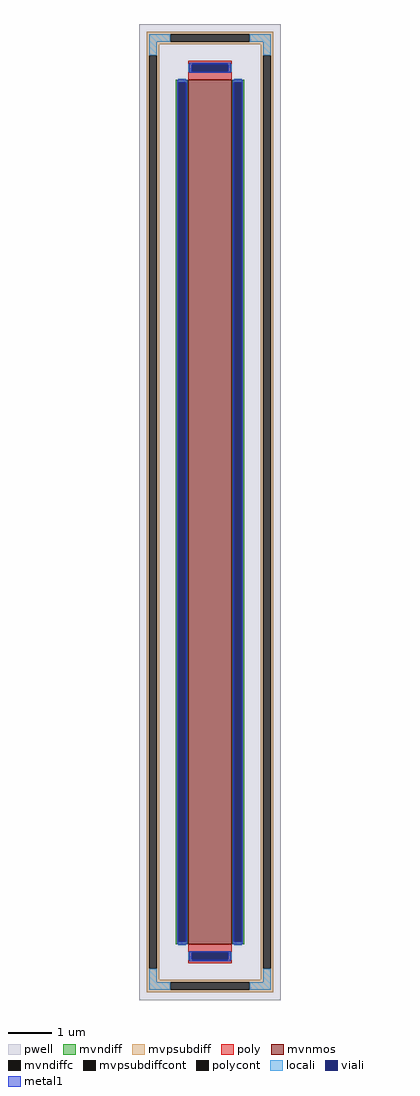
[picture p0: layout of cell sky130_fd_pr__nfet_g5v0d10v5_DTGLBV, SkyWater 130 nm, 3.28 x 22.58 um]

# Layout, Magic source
magic
tech sky130A
<< pwell >>
rect -164 -1129 164 1129
<< mvnmos >>
rect -50 -1000 50 1000
<< mvndiff >>
rect -79 994 -50 1000
rect -79 -994 -73 994
rect -56 -994 -50 994
rect -79 -1000 -50 -994
rect 50 994 79 1000
rect 50 -994 56 994
rect 73 -994 79 994
rect 50 -1000 79 -994
<< mvndiffc >>
rect -73 -994 -56 994
rect 56 -994 73 994
<< mvpsubdiff >>
rect -146 1105 146 1111
rect -146 1088 -92 1105
rect 92 1088 146 1105
rect -146 1082 146 1088
rect -146 1057 -117 1082
rect -146 -1057 -140 1057
rect -123 -1057 -117 1057
rect 117 1057 146 1082
rect -146 -1082 -117 -1057
rect 117 -1057 123 1057
rect 140 -1057 146 1057
rect 117 -1082 146 -1057
rect -146 -1088 146 -1082
rect -146 -1105 -92 -1088
rect 92 -1105 146 -1088
rect -146 -1111 146 -1105
<< mvpsubdiffcont >>
rect -92 1088 92 1105
rect -140 -1057 -123 1057
rect 123 -1057 140 1057
rect -92 -1105 92 -1088
<< poly >>
rect -50 1036 50 1044
rect -50 1019 -42 1036
rect 42 1019 50 1036
rect -50 1000 50 1019
rect -50 -1019 50 -1000
rect -50 -1036 -42 -1019
rect 42 -1036 50 -1019
rect -50 -1044 50 -1036
<< polycont >>
rect -42 1019 42 1036
rect -42 -1036 42 -1019
<< locali >>
rect -140 1088 -92 1105
rect 92 1088 140 1105
rect -140 1057 -123 1088
rect 123 1057 140 1088
rect -50 1019 -42 1036
rect 42 1019 50 1036
rect -73 994 -56 1002
rect -73 -1002 -56 -994
rect 56 994 73 1002
rect 56 -1002 73 -994
rect -50 -1036 -42 -1019
rect 42 -1036 50 -1019
rect -140 -1088 -123 -1057
rect 123 -1088 140 -1057
rect -140 -1105 -92 -1088
rect 92 -1105 140 -1088
<< viali >>
rect -42 1019 42 1036
rect -73 -994 -56 994
rect 56 -994 73 994
rect -42 -1036 42 -1019
<< metal1 >>
rect -48 1036 48 1039
rect -48 1019 -42 1036
rect 42 1019 48 1036
rect -48 1016 48 1019
rect -76 994 -53 1000
rect -76 -994 -73 994
rect -56 -994 -53 994
rect -76 -1000 -53 -994
rect 53 994 76 1000
rect 53 -994 56 994
rect 73 -994 76 994
rect 53 -1000 76 -994
rect -48 -1019 48 -1016
rect -48 -1036 -42 -1019
rect 42 -1036 48 -1019
rect -48 -1039 48 -1036
<< properties >>
string FIXED_BBOX -131 -1096 131 1096
string gencell sky130_fd_pr__nfet_g5v0d10v5
string library sky130
string parameters w 20 l 1 m 1 nf 1 diffcov 100 polycov 100 guard 1 glc 1 grc 1 gtc 1 gbc 1 tbcov 100 rlcov 100 topc 1 botc 1 poverlap 0 doverlap 1 lmin 0.50 wmin 0.42 class mosfet compatible {sky130_fd_pr__nfet_01v8 sky130_fd_pr__nfet_01v8_lvt  sky130_fd_bs_flash__special_sonosfet_star  sky130_fd_pr__nfet_g5v0d10v5 sky130_fd_pr__nfet_05v0_nvt  sky130_fd_pr__nfet_03v3_nvt} full_metal 1 viasrc 100 viadrn 100 viagate 100 viagb 0 viagr 0 viagl 0 viagt 0
string sky130_fd_pr__nfet_g5v0d10v5_DTGLBV parameters
<< end >>
